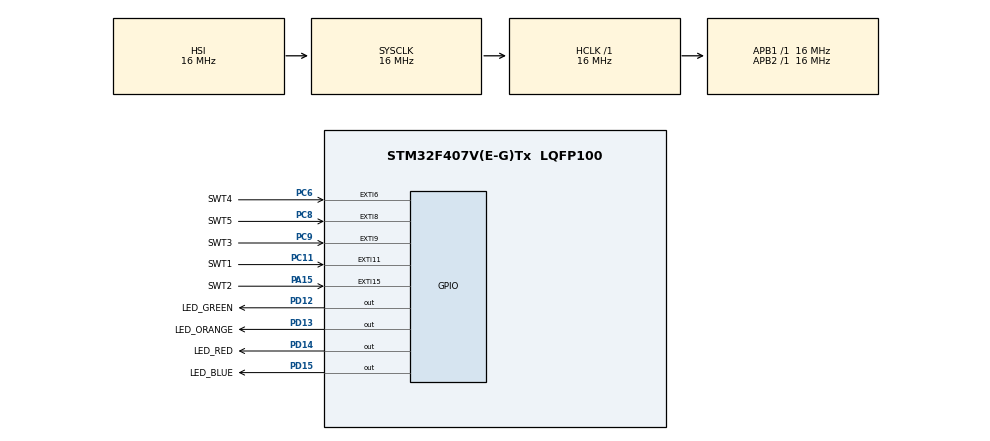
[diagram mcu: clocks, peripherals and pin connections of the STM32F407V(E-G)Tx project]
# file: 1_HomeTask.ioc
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Mcu.Family=STM32F4
Mcu.Name=STM32F407V(E-G)Tx
Mcu.Package=LQFP100
NVIC.EXTI15_10_IRQn=true\:0\:0\:false\:false\:true\:true\:true
NVIC.EXTI9_5_IRQn=true\:0\:0\:false\:false\:true\:true\:true
NVIC.PriorityGroup=NVIC_PRIORITYGROUP_4
PA15.GPIO_Label=SWT2
PA15.GPIO_ModeDefaultEXTI=GPIO_MODE_IT_FALLING
PA15.Signal=GPXTI15
PC11.GPIO_Label=SWT1
PC11.GPIO_ModeDefaultEXTI=GPIO_MODE_IT_FALLING
PC11.Signal=GPXTI11
PC6.GPIO_Label=SWT4
PC6.GPIO_ModeDefaultEXTI=GPIO_MODE_IT_FALLING
PC6.Signal=GPXTI6
PC8.GPIO_Label=SWT5
PC8.GPIO_ModeDefaultEXTI=GPIO_MODE_IT_FALLING
PC8.Signal=GPXTI8
PC9.GPIO_Label=SWT3
PC9.GPIO_ModeDefaultEXTI=GPIO_MODE_IT_FALLING
PC9.Signal=GPXTI9
PD12.GPIO_Label=LED_GREEN
PD12.Signal=GPIO_Output
PD13.GPIO_Label=LED_ORANGE
PD13.Signal=GPIO_Output
PD14.GPIO_Label=LED_RED
PD14.Signal=GPIO_Output
PD15.GPIO_Label=LED_BLUE
PD15.Signal=GPIO_Output
ProjectManager.HeapSize=0x200
ProjectManager.StackSize=0x400
ProjectManager.TargetToolchain=STM32CubeIDE
RCC.AHBFreq_Value=16000000
RCC.APB1Freq_Value=16000000
RCC.APB2Freq_Value=16000000
RCC.CortexFreq_Value=16000000
RCC.HSE_VALUE=25000000
RCC.HSI_VALUE=16000000
RCC.LSE_VALUE=32768
RCC.SYSCLKFreq_VALUE=16000000
RCC.VCOOutputFreq_Value=192000000
board=custom

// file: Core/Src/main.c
/* USER CODE BEGIN Header */
/**
 ******************************************************************************
 * @file           : main.c
 * @brief          : Main program body
 ******************************************************************************
 * @attention
 *
 * <h2><center>&copy; Copyright (c) 2021 STMicroelectronics.
 * All rights reserved.</center></h2>
 *
 * This software component is licensed by ST under BSD 3-Clause license,
 * the "License"; You may not use this file except in compliance with the
 * License. You may obtain a copy of the License at:
 *                        opensource.org/licenses/BSD-3-Clause
 *
 ******************************************************************************
 */
/* USER CODE END Header */
#include "main.h"

/* USER CODE BEGIN PTD */
typedef enum
{
	PLAY, STOP
} Modes;

typedef enum
{
	ALL_BLINKS, ROUND_BLINK_LEFT, ROUND_BLINK_RIGHT, RUNNING_LIGHTS_LEFT, RUNNING_LIGHTS_RIGHT, PAIR_BLINKING
} Blink_patterns;

/* USER CODE END PTD */

/* USER CODE BEGIN PV */
volatile Modes mode = PLAY;
volatile Blink_patterns blink_pattern = ALL_BLINKS;
volatile uint32_t timeout = 100;

enum
{
	LEFT, RIGHT
} direction;

/* USER CODE END PV */

void SystemClock_Config(void);
static void MX_GPIO_Init(void);

/* USER CODE BEGIN 0 */

void LED_All_Control(GPIO_PinState state)
{
	if (mode == PLAY)
	{
		HAL_GPIO_WritePin(GPIOD,
		LED_GREEN_Pin | LED_ORANGE_Pin | LED_RED_Pin | LED_BLUE_Pin, state);
		HAL_Delay(timeout << 2);
	}
	return;
}

void LED_All_Blinks()
{
	HAL_GPIO_WritePin(GPIOD,
	LED_GREEN_Pin | LED_ORANGE_Pin | LED_RED_Pin | LED_BLUE_Pin, GPIO_PIN_RESET);
	while (blink_pattern == ALL_BLINKS && mode == PLAY)
	{
		HAL_GPIO_WritePin(GPIOD,
		LED_GREEN_Pin | LED_ORANGE_Pin | LED_RED_Pin | LED_BLUE_Pin, GPIO_PIN_SET);
		HAL_Delay(timeout);
		HAL_GPIO_WritePin(GPIOD,
		LED_GREEN_Pin | LED_ORANGE_Pin | LED_RED_Pin | LED_BLUE_Pin, GPIO_PIN_RESET);
		HAL_Delay(timeout);
	}
}

void LED_Round_Blink()
{
	uint32_t Led_port = (direction == LEFT) ? 0x8000 : 0x1000;
	while (blink_pattern == ROUND_BLINK_LEFT && mode == PLAY)
	{
		HAL_GPIO_TogglePin(GPIOD, Led_port);
		Led_port = Led_port >> 1; //Switch  pins state one by one
		Led_port = (Led_port >= 0x1000) ? Led_port : 0x8000;
		HAL_Delay(timeout);
	}

	while (blink_pattern == ROUND_BLINK_RIGHT && mode == PLAY)
	{
		HAL_GPIO_TogglePin(GPIOD, Led_port);
		Led_port = Led_port << 1; //Switch  pins state one by one
		Led_port = (Led_port <= 0x8000) ? Led_port : 0x1000;
		HAL_Delay(timeout);
	}
}
void LED_Running_Lights()
{
	uint32_t Led_port = (direction == LEFT) ? 0x8000 : 0x1000;
	while (blink_pattern == RUNNING_LIGHTS_LEFT && mode == PLAY)
	{
		HAL_GPIO_WritePin(GPIOD, Led_port, GPIO_PIN_SET);
		HAL_Delay(timeout);
		HAL_GPIO_WritePin(GPIOD, Led_port, GPIO_PIN_RESET);
		Led_port = Led_port >> 1; //Switch  pins state one by one
		Led_port = (Led_port >= 0x1000) ? Led_port : 0x8000;
	}
	while (blink_pattern == RUNNING_LIGHTS_RIGHT && mode == PLAY)
	{
		HAL_GPIO_WritePin(GPIOD, Led_port, GPIO_PIN_SET);
		HAL_Delay(timeout);
		HAL_GPIO_WritePin(GPIOD, Led_port, GPIO_PIN_RESET);
		Led_port = Led_port << 1; //Switch  pins state one by one
		Led_port = (Led_port <= 0x8000) ? Led_port : 0x1000;
	}
}

void LED_Pair_Blinking()
{
	uint32_t count = 0;
	while (blink_pattern == PAIR_BLINKING && mode == PLAY)
	{
		if (count % 2 == 0)
		{
			HAL_GPIO_WritePin(GPIOD, LED_GREEN_Pin | LED_RED_Pin, GPIO_PIN_SET);
			HAL_Delay(timeout);
			HAL_GPIO_WritePin(GPIOD, LED_GREEN_Pin | LED_RED_Pin, GPIO_PIN_RESET);
			count++;
		}
		else
		{
			HAL_GPIO_WritePin(GPIOD, LED_ORANGE_Pin | LED_BLUE_Pin, GPIO_PIN_SET);
			HAL_Delay(timeout);
			HAL_GPIO_WritePin(GPIOD, LED_ORANGE_Pin | LED_BLUE_Pin, GPIO_PIN_RESET);
			count = 0;
		}
	}
}

void HAL_GPIO_EXTI_Callback(uint16_t GPIO_Pin)
{
	switch (GPIO_Pin)
	{
	case SWT2_Pin:
	{
		mode = (mode == PLAY) ? STOP : PLAY;
	}
		break;
	case SWT1_Pin:
	{
		timeout = (timeout == 2000) ? timeout : (timeout + 10);
	}
		break;
	case SWT3_Pin:
	{
		timeout = (timeout == 10) ? timeout : (timeout - 10);
	}
		break;
	case SWT4_Pin:
	{
		blink_pattern = (blink_pattern == PAIR_BLINKING) ? ALL_BLINKS : (blink_pattern + 1);
	}
		break;
	case SWT5_Pin:
	{
		blink_pattern = (blink_pattern == ALL_BLINKS) ? PAIR_BLINKING : (blink_pattern - 1);
	}
		break;
	}
}

/* USER CODE END 0 */

int main(void)
{

	/* MCU Configuration--------------------------------------------------------*/

	/* Reset of all peripherals, Initializes the Flash interface and the Systick. */
	HAL_Init();

	/* Configure the system clock */
	SystemClock_Config();

	/* Initialize all configured peripherals */
	MX_GPIO_Init();

	/* Infinite loop */
	/* USER CODE BEGIN WHILE */
	while (1)
	{
		LED_All_Blinks();
		LED_Round_Blink();
		LED_Running_Lights();
		LED_Pair_Blinking();
		/* USER CODE END WHILE */

	}
}

void SystemClock_Config(void)
{
	RCC_OscInitTypeDef RCC_OscInitStruct =
	{ 0 };
	RCC_ClkInitTypeDef RCC_ClkInitStruct =
	{ 0 };

	/** Configure the main internal regulator output voltage
	 */
	__HAL_RCC_PWR_CLK_ENABLE();
	__HAL_PWR_VOLTAGESCALING_CONFIG(PWR_REGULATOR_VOLTAGE_SCALE1);
	/** Initializes the RCC Oscillators according to the specified parameters
	 * in the RCC_OscInitTypeDef structure.
	 */
	RCC_OscInitStruct.OscillatorType = RCC_OSCILLATORTYPE_HSI;
	RCC_OscInitStruct.HSIState = RCC_HSI_ON;
	RCC_OscInitStruct.HSICalibrationValue = RCC_HSICALIBRATION_DEFAULT;
	RCC_OscInitStruct.PLL.PLLState = RCC_PLL_NONE;
	if (HAL_RCC_OscConfig(&RCC_OscInitStruct) != HAL_OK)
	{
		Error_Handler();
	}
	/** Initializes the CPU, AHB and APB buses clocks
	 */
	RCC_ClkInitStruct.ClockType = RCC_CLOCKTYPE_HCLK | RCC_CLOCKTYPE_SYSCLK | RCC_CLOCKTYPE_PCLK1 | RCC_CLOCKTYPE_PCLK2;
	RCC_ClkInitStruct.SYSCLKSource = RCC_SYSCLKSOURCE_HSI;
	RCC_ClkInitStruct.AHBCLKDivider = RCC_SYSCLK_DIV1;
	RCC_ClkInitStruct.APB1CLKDivider = RCC_HCLK_DIV1;
	RCC_ClkInitStruct.APB2CLKDivider = RCC_HCLK_DIV1;

	if (HAL_RCC_ClockConfig(&RCC_ClkInitStruct, FLASH_LATENCY_0) != HAL_OK)
	{
		Error_Handler();
	}
}

static void MX_GPIO_Init(void)
{
	GPIO_InitTypeDef GPIO_InitStruct =
	{ 0 };

	/* GPIO Ports Clock Enable */
	__HAL_RCC_GPIOD_CLK_ENABLE();
	__HAL_RCC_GPIOC_CLK_ENABLE();
	__HAL_RCC_GPIOA_CLK_ENABLE();

	/*Configure GPIO pin Output Level */
	HAL_GPIO_WritePin(GPIOD, LED_GREEN_Pin | LED_ORANGE_Pin | LED_RED_Pin | LED_BLUE_Pin, GPIO_PIN_RESET);

	/*Configure GPIO pins : LED_GREEN_Pin LED_ORANGE_Pin LED_RED_Pin LED_BLUE_Pin */
	GPIO_InitStruct.Pin = LED_GREEN_Pin | LED_ORANGE_Pin | LED_RED_Pin | LED_BLUE_Pin;
	GPIO_InitStruct.Mode = GPIO_MODE_OUTPUT_PP;
	GPIO_InitStruct.Pull = GPIO_NOPULL;
	GPIO_InitStruct.Speed = GPIO_SPEED_FREQ_LOW;
	HAL_GPIO_Init(GPIOD, &GPIO_InitStruct);

	/*Configure GPIO pins : SWT4_Pin SWT5_Pin SWT3_Pin SWT1_Pin */
	GPIO_InitStruct.Pin = SWT4_Pin | SWT5_Pin | SWT3_Pin | SWT1_Pin;
	GPIO_InitStruct.Mode = GPIO_MODE_IT_FALLING;
	GPIO_InitStruct.Pull = GPIO_NOPULL;
	HAL_GPIO_Init(GPIOC, &GPIO_InitStruct);

	/*Configure GPIO pin : SWT2_Pin */
	GPIO_InitStruct.Pin = SWT2_Pin;
	GPIO_InitStruct.Mode = GPIO_MODE_IT_FALLING;
	GPIO_InitStruct.Pull = GPIO_NOPULL;
	HAL_GPIO_Init(SWT2_GPIO_Port, &GPIO_InitStruct);

	/* EXTI interrupt init*/
	HAL_NVIC_SetPriority(EXTI9_5_IRQn, 0, 0);
	HAL_NVIC_EnableIRQ(EXTI9_5_IRQn);

	HAL_NVIC_SetPriority(EXTI15_10_IRQn, 0, 0);
	HAL_NVIC_EnableIRQ(EXTI15_10_IRQn);

}

void Error_Handler(void)
{
	__disable_irq();
	while (1)
	{
	}
}

/************************ (C) COPYRIGHT STMicroelectronics *****END OF FILE****/
